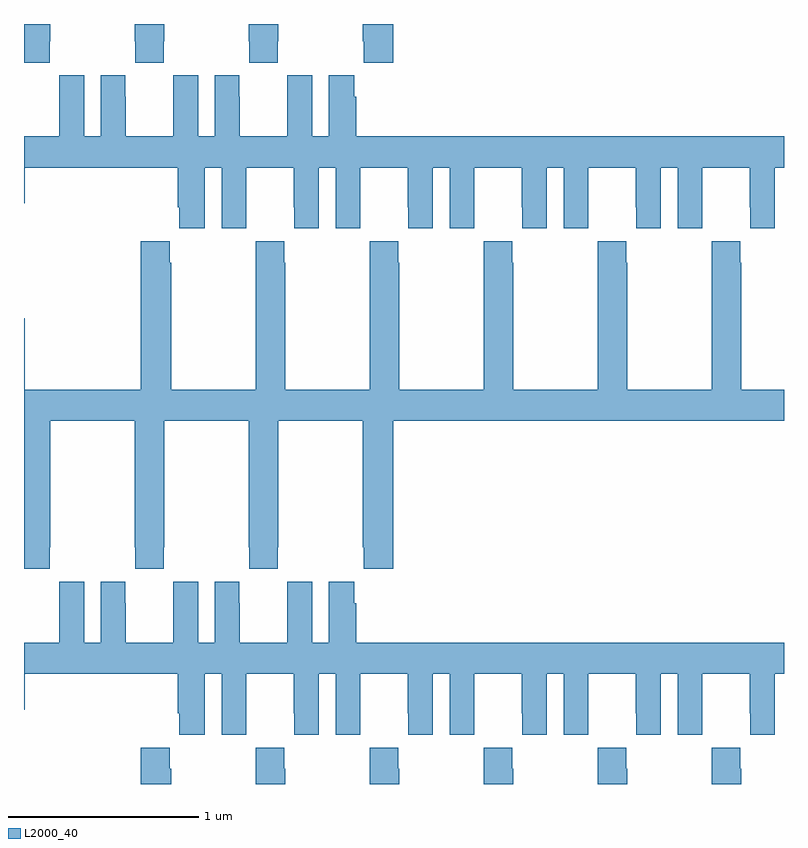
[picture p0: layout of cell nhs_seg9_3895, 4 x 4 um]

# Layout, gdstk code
import gdstk
lib = gdstk.Library(unit=1e-6, precision=1e-09)
def P(c, l, *ps):  # polygons
    for p in ps: c.add(gdstk.Polygon(p, *l))
L2000_40 = (2000, 40)

nhs_seg9_3895 = lib.new_cell('nhs_seg9_3895')
P(nhs_seg9_3895, L2000_40, [(333.735,1206.409),(333.738,1206.409),(333.738,1206.5),(333.583,1206.5),(333.583,1206.409),(333.585,1206.409),(333.585,1206.297),(333.735,1206.297)],
  [(334.335,1206.409),(334.338,1206.409),(334.338,1206.5),(334.183,1206.5),(334.183,1206.409),(334.185,1206.409),(334.185,1206.297),(334.335,1206.297)],
  [(334.943,1206.5),(334.783,1206.5),(334.783,1206.409),(334.789,1206.409),(334.789,1206.297),(334.943,1206.297)],
  [(333.135,1206.409),(333.138,1206.409),(333.138,1206.5),(333,1206.5),(333,1206.297),(333.135,1206.297)],
  [(334.748,1206.116),(334.738,1206.116),(334.738,1206.229),(334.604,1206.229),(334.604,1205.908),(334.516,1205.908),(334.516,1206.229),(334.386,1206.229),(334.386,1206.116),(334.385,1206.116),(334.385,1205.908),(334.135,1205.908),(334.135,1206.116),(334.134,1206.116),(334.134,1206.229),(334.004,1206.229),(334.004,1205.908),(333.916,1205.908),(333.916,1206.229),(333.786,1206.229),(333.786,1206.116),(333.785,1206.116),(333.785,1205.908),(333.535,1205.908),(333.535,1206.116),(333.534,1206.116),(333.534,1206.229),(333.404,1206.229),(333.404,1205.908),(333.316,1205.908),(333.316,1206.229),(333.186,1206.229),(333.186,1206.116),(333.185,1206.116),(333.185,1205.908),(333,1205.908),(333,1205.556),(333.004,1205.556),(333.004,1205.744),(333.809,1205.744),(333.809,1205.536),(333.818,1205.536),(333.818,1205.424),(333.952,1205.424),(333.952,1205.744),(334.04,1205.744),(334.04,1205.424),(334.17,1205.424),(334.17,1205.536),(334.171,1205.536),(334.171,1205.744),(334.421,1205.744),(334.421,1205.536),(334.422,1205.536),(334.422,1205.424),(334.552,1205.424),(334.552,1205.744),(334.64,1205.744),(334.64,1205.424),(334.77,1205.424),(334.77,1205.536),(334.771,1205.536),(334.771,1205.744),(335.021,1205.744),(335.021,1205.536),(335.022,1205.536),(335.022,1205.424),(335.152,1205.424),(335.152,1205.744),(335.24,1205.744),(335.24,1205.424),(335.37,1205.424),(335.37,1205.536),(335.371,1205.536),(335.371,1205.744),(335.621,1205.744),(335.621,1205.536),(335.622,1205.536),(335.622,1205.424),(335.752,1205.424),(335.752,1205.744),(335.84,1205.744),(335.84,1205.424),(335.97,1205.424),(335.97,1205.536),(335.971,1205.536),(335.971,1205.744),(336.221,1205.744),(336.221,1205.536),(336.222,1205.536),(336.222,1205.424),(336.352,1205.424),(336.352,1205.744),(336.44,1205.744),(336.44,1205.424),(336.57,1205.424),(336.57,1205.536),(336.571,1205.536),(336.571,1205.744),(336.821,1205.744),(336.821,1205.536),(336.822,1205.536),(336.822,1205.424),(336.952,1205.424),(336.952,1205.744),(337,1205.744),(337,1205.908),(334.748,1205.908)],
  [(333.135,1203.745),(333.138,1203.745),(333.138,1204.412),(333.583,1204.412),(333.583,1203.745),(333.585,1203.745),(333.585,1203.633),(333.735,1203.633),(333.735,1203.745),(333.738,1203.745),(333.738,1204.412),(334.183,1204.412),(334.183,1203.745),(334.185,1203.745),(334.185,1203.633),(334.335,1203.633),(334.335,1203.745),(334.338,1203.745),(334.338,1204.412),(334.783,1204.412),(334.783,1203.745),(334.789,1203.745),(334.789,1203.633),(334.943,1203.633),(334.943,1204.412),(337,1204.412),(337,1204.576),(336.774,1204.576),(336.774,1205.243),(336.771,1205.243),(336.771,1205.356),(336.621,1205.356),(336.621,1205.243),(336.619,1205.243),(336.619,1204.576),(336.174,1204.576),(336.174,1205.243),(336.171,1205.243),(336.171,1205.356),(336.021,1205.356),(336.021,1205.243),(336.019,1205.243),(336.019,1204.576),(335.574,1204.576),(335.574,1205.243),(335.571,1205.243),(335.571,1205.356),(335.421,1205.356),(335.421,1205.243),(335.419,1205.243),(335.419,1204.576),(334.974,1204.576),(334.974,1205.243),(334.971,1205.243),(334.971,1205.356),(334.821,1205.356),(334.821,1205.243),(334.819,1205.243),(334.819,1204.576),(334.374,1204.576),(334.374,1205.243),(334.371,1205.243),(334.371,1205.356),(334.221,1205.356),(334.221,1205.243),(334.219,1205.243),(334.219,1204.576),(333.774,1204.576),(333.774,1205.243),(333.767,1205.243),(333.767,1205.356),(333.614,1205.356),(333.614,1204.576),(333.004,1204.576),(333.004,1204.951),(333,1204.951),(333,1203.633),(333.135,1203.633)],
  [(333.786,1203.452),(333.785,1203.452),(333.785,1203.244),(333.535,1203.244),(333.535,1203.452),(333.534,1203.452),(333.534,1203.565),(333.404,1203.565),(333.404,1203.244),(333.316,1203.244),(333.316,1203.565),(333.186,1203.565),(333.186,1203.452),(333.185,1203.452),(333.185,1203.244),(333,1203.244),(333,1202.892),(333.004,1202.892),(333.004,1203.08),(333.809,1203.08),(333.809,1202.872),(333.818,1202.872),(333.818,1202.76),(333.952,1202.76),(333.952,1203.08),(334.04,1203.08),(334.04,1202.76),(334.17,1202.76),(334.17,1202.872),(334.171,1202.872),(334.171,1203.08),(334.421,1203.08),(334.421,1202.872),(334.422,1202.872),(334.422,1202.76),(334.552,1202.76),(334.552,1203.08),(334.64,1203.08),(334.64,1202.76),(334.77,1202.76),(334.77,1202.872),(334.771,1202.872),(334.771,1203.08),(335.021,1203.08),(335.021,1202.872),(335.022,1202.872),(335.022,1202.76),(335.152,1202.76),(335.152,1203.08),(335.24,1203.08),(335.24,1202.76),(335.37,1202.76),(335.37,1202.872),(335.371,1202.872),(335.371,1203.08),(335.621,1203.08),(335.621,1202.872),(335.622,1202.872),(335.622,1202.76),(335.752,1202.76),(335.752,1203.08),(335.84,1203.08),(335.84,1202.76),(335.97,1202.76),(335.97,1202.872),(335.971,1202.872),(335.971,1203.08),(336.221,1203.08),(336.221,1202.872),(336.222,1202.872),(336.222,1202.76),(336.352,1202.76),(336.352,1203.08),(336.44,1203.08),(336.44,1202.76),(336.57,1202.76),(336.57,1202.872),(336.571,1202.872),(336.571,1203.08),(336.821,1203.08),(336.821,1202.872),(336.822,1202.872),(336.822,1202.76),(336.952,1202.76),(336.952,1203.08),(337,1203.08),(337,1203.244),(334.748,1203.244),(334.748,1203.452),(334.738,1203.452),(334.738,1203.565),(334.604,1203.565),(334.604,1203.244),(334.516,1203.244),(334.516,1203.565),(334.386,1203.565),(334.386,1203.452),(334.385,1203.452),(334.385,1203.244),(334.135,1203.244),(334.135,1203.452),(334.134,1203.452),(334.134,1203.565),(334.004,1203.565),(334.004,1203.244),(333.916,1203.244),(333.916,1203.565),(333.786,1203.565)],
  [(334.374,1202.579),(334.371,1202.579),(334.371,1202.692),(334.221,1202.692),(334.221,1202.579),(334.219,1202.579),(334.219,1202.5),(334.374,1202.5)],
  [(335.574,1202.579),(335.571,1202.579),(335.571,1202.692),(335.421,1202.692),(335.421,1202.579),(335.419,1202.579),(335.419,1202.5),(335.574,1202.5)],
  [(334.974,1202.579),(334.971,1202.579),(334.971,1202.692),(334.821,1202.692),(334.821,1202.579),(334.819,1202.579),(334.819,1202.5),(334.974,1202.5)],
  [(333.774,1202.579),(333.767,1202.579),(333.767,1202.692),(333.614,1202.692),(333.614,1202.5),(333.774,1202.5)],
  [(336.774,1202.579),(336.771,1202.579),(336.771,1202.692),(336.621,1202.692),(336.621,1202.579),(336.619,1202.579),(336.619,1202.5),(336.774,1202.5)],
  [(336.174,1202.579),(336.171,1202.579),(336.171,1202.692),(336.021,1202.692),(336.021,1202.579),(336.019,1202.579),(336.019,1202.5),(336.174,1202.5)])

lib.write_gds('nhs_seg9_3895.gds')
